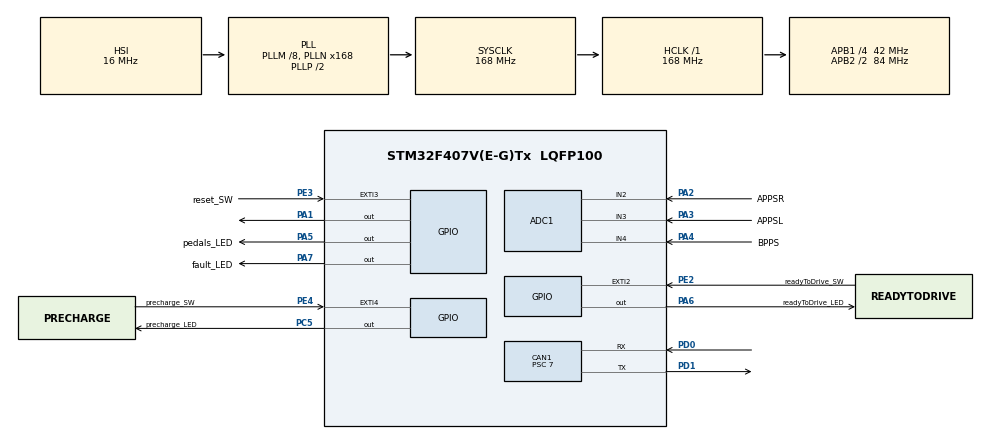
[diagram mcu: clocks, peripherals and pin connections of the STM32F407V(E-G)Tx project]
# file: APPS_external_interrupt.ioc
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ADC1.Channel-0\#ChannelRegularConversion=ADC_CHANNEL_2
ADC1.Channel-1\#ChannelRegularConversion=ADC_CHANNEL_3
ADC1.Channel-2\#ChannelRegularConversion=ADC_CHANNEL_4
ADC1.ClockPrescaler=ADC_CLOCK_SYNC_PCLK_DIV8
ADC1.ContinuousConvMode=ENABLE
ADC1.DMAContinuousRequests=ENABLE
ADC1.NbrOfConversion=3
ADC1.NbrOfConversionFlag=1
ADC1.Rank-0\#ChannelRegularConversion=1
ADC1.Rank-1\#ChannelRegularConversion=2
ADC1.Rank-2\#ChannelRegularConversion=3
ADC1.SamplingTime-0\#ChannelRegularConversion=ADC_SAMPLETIME_480CYCLES
ADC1.SamplingTime-1\#ChannelRegularConversion=ADC_SAMPLETIME_480CYCLES
ADC1.SamplingTime-2\#ChannelRegularConversion=ADC_SAMPLETIME_480CYCLES
ADC1.ScanConvMode=ENABLE
ADC1.master=1
CAN1.BS1=CAN_BS1_5TQ
CAN1.BS2=CAN_BS2_6TQ
CAN1.CalculateTimeQuantum=166.66666666666669
CAN1.Prescaler=7
Dma.ADC1.0.Direction=DMA_PERIPH_TO_MEMORY
Dma.ADC1.0.FIFOMode=DMA_FIFOMODE_DISABLE
Dma.ADC1.0.Instance=DMA2_Stream0
Dma.ADC1.0.MemDataAlignment=DMA_MDATAALIGN_HALFWORD
Dma.ADC1.0.MemInc=DMA_MINC_ENABLE
Dma.ADC1.0.Mode=DMA_CIRCULAR
Dma.ADC1.0.PeriphDataAlignment=DMA_PDATAALIGN_HALFWORD
Dma.ADC1.0.PeriphInc=DMA_PINC_DISABLE
Dma.ADC1.0.Priority=DMA_PRIORITY_LOW
Dma.Request0=ADC1
Mcu.Family=STM32F4
Mcu.Name=STM32F407V(E-G)Tx
Mcu.Package=LQFP100
NVIC.CAN1_RX0_IRQn=true\:3\:0\:true\:true\:true\:6\:true\:true
NVIC.DMA2_Stream0_IRQn=true\:0\:0\:false\:true\:true\:1\:false\:true
NVIC.EXTI2_IRQn=true\:1\:2\:true\:true\:true\:4\:true\:true
NVIC.EXTI3_IRQn=true\:1\:0\:true\:true\:true\:2\:true\:true
NVIC.EXTI4_IRQn=true\:1\:1\:true\:true\:true\:3\:true\:true
NVIC.PriorityGroup=NVIC_PRIORITYGROUP_2
NVIC.TIM2_IRQn=true\:2\:0\:true\:true\:true\:5\:true\:true
PA1.Signal=GPIO_Output
PA2.GPIO_Label=APPSR
PA2.Signal=ADCx_IN2
PA3.GPIO_Label=APPSL
PA3.Signal=ADCx_IN3
PA4.GPIO_Label=BPPS
PA4.Signal=ADCx_IN4
PA5.GPIO_Label=pedals_LED
PA5.Signal=GPIO_Output
PA6.GPIO_Label=readyToDrive_LED
PA6.Signal=GPIO_Output
PA7.GPIO_Label=fault_LED
PA7.Signal=GPIO_Output
PC5.GPIO_Label=precharge_LED
PC5.Signal=GPIO_Output
PD0.Mode=Master
PD0.Signal=CAN1_RX
PD1.Mode=Master
PD1.Signal=CAN1_TX
PE2.GPIO_Label=readyToDrive_SW
PE2.GPIO_ModeDefaultEXTI=GPIO_MODE_IT_RISING_FALLING
PE2.GPIO_PuPd=GPIO_PULLUP
PE2.Signal=GPXTI2
PE3.GPIO_Label=reset_SW
PE3.GPIO_ModeDefaultEXTI=GPIO_MODE_IT_RISING_FALLING
PE3.GPIO_PuPd=GPIO_PULLUP
PE3.Signal=GPXTI3
PE4.GPIO_Label=precharge_SW
PE4.GPIO_ModeDefaultEXTI=GPIO_MODE_IT_RISING_FALLING
PE4.GPIO_PuPd=GPIO_PULLDOWN
PE4.Signal=GPXTI4
PH0-OSC_IN.Mode=HSE-External-Oscillator
PH0-OSC_IN.Signal=RCC_OSC_IN
PH1-OSC_OUT.Mode=HSE-External-Oscillator
PH1-OSC_OUT.Signal=RCC_OSC_OUT
ProjectManager.HeapSize=0x200
ProjectManager.StackSize=0x400
ProjectManager.TargetToolchain=MDK-ARM V5.27
RCC.48MHZClocksFreq_Value=84000000
RCC.AHBFreq_Value=168000000
RCC.APB1CLKDivider=RCC_HCLK_DIV4
RCC.APB1Freq_Value=42000000
RCC.APB1TimFreq_Value=84000000
RCC.APB2CLKDivider=RCC_HCLK_DIV2
RCC.APB2Freq_Value=84000000
RCC.APB2TimFreq_Value=168000000
RCC.CortexFreq_Value=168000000
RCC.HCLKFreq_Value=168000000
RCC.HSE_VALUE=8000000
RCC.HSI_VALUE=16000000
RCC.LSE_VALUE=32768
RCC.PLLM=8
RCC.PLLN=168
RCC.SYSCLKFreq_VALUE=168000000
RCC.SYSCLKSource=RCC_SYSCLKSOURCE_PLLCLK
RCC.VCOOutputFreq_Value=336000000
SH.ADCx_IN2.0=ADC1_IN2,IN2
SH.ADCx_IN3.0=ADC1_IN3,IN3
SH.ADCx_IN4.0=ADC1_IN4,IN4
TIM2.Period=100
TIM2.Prescaler=42000
TIM2.TIM_MasterOutputTrigger=TIM_TRGO_UPDATE
VP_TIM2_VS_ClockSourceINT.Mode=Internal
board=custom

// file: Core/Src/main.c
/* USER CODE BEGIN Header */
/**
  ******************************************************************************
  * @file           : main.c
  * @brief          : Main program body
  ******************************************************************************
  * @attention
  *
  * <h2><center>&copy; Copyright (c) 2021 STMicroelectronics.
  * All rights reserved.</center></h2>
  *
  * This software component is licensed by ST under BSD 3-Clause license,
  * the "License"; You may not use this file except in compliance with the
  * License. You may obtain a copy of the License at:
  *                        opensource.org/licenses/BSD-3-Clause
  *
  ******************************************************************************
  */
/* USER CODE END Header */
#include "main.h"
#include "adc.h"
#include "can.h"
#include "dma.h"
#include "tim.h"
#include "gpio.h"

/* USER CODE BEGIN Includes */
#include <stdbool.h>
#include <math.h>
/* USER CODE END Includes */

/* USER CODE BEGIN PTD */
//pedal box parameter setting
#define BrakeAct 800
#define APPSAct 800
#define APPSLeast 200   //for the APPS plausibility check  => motor must shut down until the APPS signals less than 5% peadal travel
#define APPSDIFF 2000

//if out of this range will generate error
#define APPSRUPPEST 4000
#define APPSLUPPEST 4000
#define BPPSUPPEST 4000
#define APPSRLOWEST 0
#define APPSLLOWEST 0
#define BPPSLOWEST 0
#define DISCONNECT 4050
//deine max and offset this parameter offset will slight bigger than the lowest and max will slight smaller than the uppest depends on  the pedal box
//this parameter is used to determine the output torque
#define APPSRMAX 3800
#define APPSLMAX 3800
#define APPSROFFSET 0
#define APPSLOFFSET 0

#define ReadyTime 1000   //ms

//dma scan
#define APPSR adcArr[0]
#define APPSL adcArr[1]
#define BPPS   adcArr[2]
#define APPS (adcArr[0]+adcArr[1])/2
/* USER CODE END PTD */

/* USER CODE BEGIN PV */
static CAN_TxHeaderTypeDef TxMessage;
static CAN_RxHeaderTypeDef RxMessage;

//Rx Txdata
uint8_t TxData[8]={0};
uint32_t TxMailbox;
uint8_t RxData[8]={0};

//address
uint16_t OwnID=0x123;
uint16_t RemoteID =0x0A0;

uint16_t adcArr[3];
bool readyButton;
uint8_t errorNumber;
uint16_t torque=0;
uint32_t startTime;
uint32_t duration=0;
bool pedals=0;
bool rtd_io=0;
bool rtd_start=0; //if precharge&&reset&&readyToDrive io are all on this parameter will be true
//bool ready_io=0;
bool precharge_io=0;
bool reset_io=0;
/* USER CODE END PV */

void SystemClock_Config(void);
static void MX_NVIC_Init(void);
/* USER CODE BEGIN PFP */
//APPS
void driving_mode(void);
void led_blink(void);
void pedals_mode(void);
uint8_t check_safety(void);
uint16_t map(uint16_t value,uint16_t inputL,uint16_t inputH,uint16_t outputL ,uint16_t outputH);

//CAN
void CAN_filterConfig(void);
void CAN_Txsetup(void);
/* USER CODE END PFP */

int main(void)
{

  /* MCU Configuration--------------------------------------------------------*/

  /* Reset of all peripherals, Initializes the Flash interface and the Systick. */
  HAL_Init();

  /* Configure the system clock */
  SystemClock_Config();

  /* Initialize all configured peripherals */
  MX_GPIO_Init();
  MX_DMA_Init();
  MX_ADC1_Init();
  MX_CAN1_Init();
  MX_TIM2_Init();

  /* Initialize interrupts */
  MX_NVIC_Init();
  /* USER CODE BEGIN 2 */
	HAL_ADC_Start_DMA(&hadc1,(uint32_t *)adcArr,3);
	HAL_TIM_Base_Start_IT(&htim2);
	CAN_filterConfig();
	CAN_Txsetup();

	precharge_io=HAL_GPIO_ReadPin(precharge_SW_GPIO_Port,precharge_SW_Pin);
	if(precharge_io)
		HAL_GPIO_WritePin(precharge_LED_GPIO_Port,precharge_LED_Pin,GPIO_PIN_SET);
	reset_io=!(HAL_GPIO_ReadPin(reset_SW_GPIO_Port,reset_SW_Pin));
  /* USER CODE END 2 */

  /* Infinite loop */
  while (1)
  {

    /* USER CODE BEGIN 3 */
		if(rtd_io==0){
				torque=0;
				HAL_GPIO_WritePin(readyToDrive_LED_GPIO_Port,readyToDrive_LED_Pin,GPIO_PIN_RESET);
				duration=0;
				do{
						if(BPPS>=BrakeAct &&  rtd_start==1){
								startTime=HAL_GetTick();
								while(duration<ReadyTime &&   rtd_start==1){
										duration = HAL_GetTick()-startTime;
								}
						}
				}while(duration<ReadyTime);
				 rtd_io=1;
			}

			if(rtd_io==1){
					HAL_GPIO_WritePin(fault_LED_GPIO_Port,fault_LED_Pin,GPIO_PIN_RESET);
					HAL_GPIO_WritePin(readyToDrive_LED_GPIO_Port,readyToDrive_LED_Pin,GPIO_PIN_SET);
				  //entering drive mode
					driving_mode();

			}
  }
  /* USER CODE END 3 */
}

void SystemClock_Config(void)
{
  RCC_OscInitTypeDef RCC_OscInitStruct = {0};
  RCC_ClkInitTypeDef RCC_ClkInitStruct = {0};

  /** Configure the main internal regulator output voltage
  */
  __HAL_RCC_PWR_CLK_ENABLE();
  __HAL_PWR_VOLTAGESCALING_CONFIG(PWR_REGULATOR_VOLTAGE_SCALE1);
  /** Initializes the RCC Oscillators according to the specified parameters
  * in the RCC_OscInitTypeDef structure.
  */
  RCC_OscInitStruct.OscillatorType = RCC_OSCILLATORTYPE_HSI;
  RCC_OscInitStruct.HSIState = RCC_HSI_ON;
  RCC_OscInitStruct.HSICalibrationValue = RCC_HSICALIBRATION_DEFAULT;
  RCC_OscInitStruct.PLL.PLLState = RCC_PLL_ON;
  RCC_OscInitStruct.PLL.PLLSource = RCC_PLLSOURCE_HSI;
  RCC_OscInitStruct.PLL.PLLM = 8;
  RCC_OscInitStruct.PLL.PLLN = 168;
  RCC_OscInitStruct.PLL.PLLP = RCC_PLLP_DIV2;
  RCC_OscInitStruct.PLL.PLLQ = 4;
  if (HAL_RCC_OscConfig(&RCC_OscInitStruct) != HAL_OK)
  {
    Error_Handler();
  }
  /** Initializes the CPU, AHB and APB buses clocks
  */
  RCC_ClkInitStruct.ClockType = RCC_CLOCKTYPE_HCLK|RCC_CLOCKTYPE_SYSCLK
                              |RCC_CLOCKTYPE_PCLK1|RCC_CLOCKTYPE_PCLK2;
  RCC_ClkInitStruct.SYSCLKSource = RCC_SYSCLKSOURCE_PLLCLK;
  RCC_ClkInitStruct.AHBCLKDivider = RCC_SYSCLK_DIV1;
  RCC_ClkInitStruct.APB1CLKDivider = RCC_HCLK_DIV4;
  RCC_ClkInitStruct.APB2CLKDivider = RCC_HCLK_DIV2;

  if (HAL_RCC_ClockConfig(&RCC_ClkInitStruct, FLASH_LATENCY_5) != HAL_OK)
  {
    Error_Handler();
  }
}

/**
  * @brief NVIC Configuration.
  * @retval None
  */
static void MX_NVIC_Init(void)
{
  /* DMA2_Stream0_IRQn interrupt configuration */
  HAL_NVIC_SetPriority(DMA2_Stream0_IRQn, 0, 0);
  HAL_NVIC_EnableIRQ(DMA2_Stream0_IRQn);
  /* EXTI3_IRQn interrupt configuration */
  HAL_NVIC_SetPriority(EXTI3_IRQn, 1, 0);
  HAL_NVIC_EnableIRQ(EXTI3_IRQn);
  /* EXTI4_IRQn interrupt configuration */
  HAL_NVIC_SetPriority(EXTI4_IRQn, 1, 1);
  HAL_NVIC_EnableIRQ(EXTI4_IRQn);
  /* EXTI2_IRQn interrupt configuration */
  HAL_NVIC_SetPriority(EXTI2_IRQn, 1, 2);
  HAL_NVIC_EnableIRQ(EXTI2_IRQn);
  /* TIM2_IRQn interrupt configuration */
  HAL_NVIC_SetPriority(TIM2_IRQn, 2, 0);
  HAL_NVIC_EnableIRQ(TIM2_IRQn);
  /* CAN1_RX0_IRQn interrupt configuration */
  HAL_NVIC_SetPriority(CAN1_RX0_IRQn, 3, 0);
  HAL_NVIC_EnableIRQ(CAN1_RX0_IRQn);
}

/* USER CODE BEGIN 4 */
void HAL_TIM_PeriodElapsedCallback(TIM_HandleTypeDef *htim2)
{
  /* Prevent unused argument(s) compilation warning */
  UNUSED(htim2);

  /* NOTE : This function should not be modified, when the callback is needed,
            the HAL_TIM_PeriodElapsedCallback could be implemented in the user file
   */

	/*01 torque command (torque = ([0]+[1]*256)/10)
  23 speed command (angular speed = [2]+[3]*256
  4   Direction (0:reverse 1:forwards rd).  *further note: if the direction command is changed suddenly when the inverter is still enable, inverter is disable without triggering any fault
  And the Lockout mechanism is set again which will force the user to re-enable it
  5   5.0 inverter enable (0:off 1:ON)
       5.1 inverter discharge (0 disable 1 enable)
       5.2 speed mode
  67  commanded torque limit (0 default)
  this message should be continuously broadcast at least 500 milliseconds
	*/

	if(rtd_io==0){
		TxData[0]=0;
		TxData[1]=0;
		TxData[5]=0;
	}else{
		TxData[0]=(torque%256);
		TxData[1]=(torque/256);
		TxData[4]=1;
		TxData[5]=1;
	}
	HAL_CAN_AddTxMessage(&hcan1,&TxMessage,TxData,&TxMailbox);
	HAL_GPIO_TogglePin(GPIOA,GPIO_PIN_1);
}

void CAN_filterConfig(void){
	CAN_FilterTypeDef filterConfig;

	filterConfig.FilterBank=0;
	filterConfig.FilterActivation=ENABLE;
	filterConfig.FilterFIFOAssignment=CAN_RX_FIFO0;
	filterConfig.FilterIdHigh=0x0000;
	filterConfig.FilterIdLow=0x0000;
	filterConfig.FilterMaskIdHigh=0x0000;
	filterConfig.FilterMaskIdLow=0x0000;
	filterConfig.FilterMode=CAN_FILTERMODE_IDMASK;
	filterConfig.FilterScale= CAN_FILTERSCALE_32BIT;
	filterConfig.SlaveStartFilterBank=14;

	if(HAL_CAN_ConfigFilter(&hcan1,&filterConfig)!=HAL_OK){
		Error_Handler();
	}

	if(HAL_CAN_ActivateNotification(&hcan1,CAN_IT_RX_FIFO0_MSG_PENDING)!=HAL_OK){
		Error_Handler();
	}		//enable interrupt

}
void CAN_Txsetup(){
		if(HAL_CAN_Start(&hcan1)!=HAL_OK){
		Error_Handler();
		}

		TxMessage.StdId=0x0C0;
		TxMessage.ExtId=0x01;
		TxMessage.RTR=CAN_RTR_DATA;
		TxMessage.IDE=CAN_ID_STD;
		TxMessage.DLC=8;
		TxMessage.TransmitGlobalTime=DISABLE;   //time trigger must be turned ON

		TxData[0]=0;
		TxData[1]=0;
		TxData[2]=0;
		TxData[3]=0;
		TxData[4]=0;
		TxData[5]=0;
		TxData[6]=0;
		TxData[7]=0;
}

void HAL_CAN_RxFifo0MsgPendingCallback(CAN_HandleTypeDef *hcan){
	if(HAL_CAN_GetRxMessage(hcan,CAN_RX_FIFO0,&RxMessage,RxData)!=HAL_OK){
		Error_Handler();
	}
}

void driving_mode(void){
  errorNumber= check_safety();
	switch(errorNumber){
		case 1:{
			//wiring disconnection
			HAL_GPIO_WritePin(fault_LED_GPIO_Port,fault_LED_Pin,GPIO_PIN_SET);
			torque=0;
			rtd_io=0;
			break;
		}
		case 2:{
			//apps throttle differ over
			HAL_GPIO_WritePin(fault_LED_GPIO_Port,fault_LED_Pin,GPIO_PIN_SET);
			torque=0;
			rtd_io=0;
			break;
		}
		case 3:{
			//bpps || apps out of range
			HAL_GPIO_WritePin(fault_LED_GPIO_Port,fault_LED_Pin,GPIO_PIN_SET);
			torque=0;
			rtd_io=0;
			break;
		}
		case 4:{
			//pedals =>enter pedals mode
			HAL_GPIO_WritePin(pedals_LED_GPIO_Port,pedals_LED_Pin,GPIO_PIN_SET);
			torque=0;
			while(APPS>APPSLeast){
				HAL_Delay(10);
			}
			HAL_GPIO_WritePin(pedals_LED_GPIO_Port,pedals_LED_Pin,GPIO_PIN_RESET);
			break;
		}
		case 5:{
			//brake acting
			torque=0;
			break;
		}
		case 0:{
			//accelaration mode
			torque=map(APPS,(APPSROFFSET+APPSLOFFSET)/2,(APPSRMAX+APPSLMAX)/2,0,1400);
			break;
		}

	}

}
uint8_t check_safety(void){
		//detect disconnect
		if(APPSR>DISCONNECT || APPSL>DISCONNECT || BPPS>DISCONNECT){
			return 1;
		}
		//apps difference over APPS different  limit
		else if( __fabs (APPSR-APPSL)> APPSDIFF){
		return 2;
		}
		//check if sensor in the correct zone
		//BPPS 0~100 APPS 0~200
		else if(APPSR>APPSRUPPEST || APPSL>APPSLUPPEST || BPPS>BPPSUPPEST||APPSR<APPSRLOWEST || APPSL<APPSLLOWEST ||BPPS<BPPSLOWEST){
			return 3;
		}
		//braking >20
		else if(BPPS>BrakeAct){
			if(APPS>APPSAct){
				 pedals=1;
				return 4;	 //braking with pedal not safe
			}
			return 5;   //braking safely
		}
		return 0;   //accelaration mode
}

uint16_t map(uint16_t value, uint16_t inputL,uint16_t inputH,uint16_t outputL ,uint16_t outputH){

	uint16_t returnVal=(value-inputL)*(outputH-outputL)/(inputH-inputL)+outputL;
	if(returnVal>outputH){
		return outputH;
	}else {
		return returnVal;
	}
}
/* USER CODE END 4 */

void Error_Handler(void)
{
}

/************************ (C) COPYRIGHT STMicroelectronics *****END OF FILE****/
